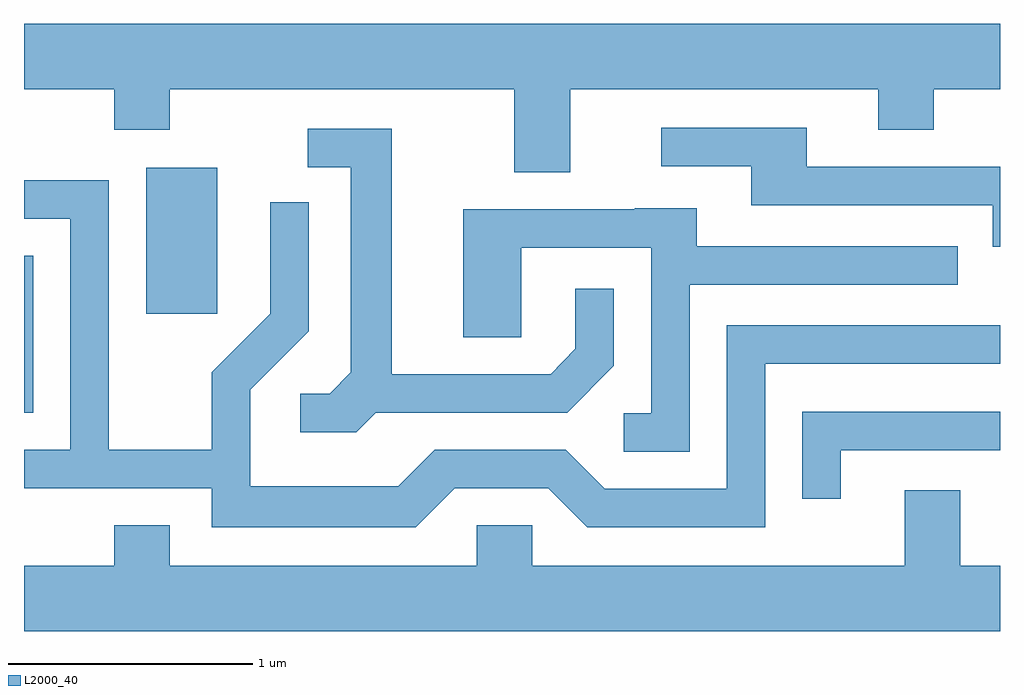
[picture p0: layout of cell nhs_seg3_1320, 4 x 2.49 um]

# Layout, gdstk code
import gdstk
lib = gdstk.Library(unit=1e-6, precision=1e-09)
def R(c, l, rs):  # rectangles x0, y0, x1, y1
    for r in rs: c.add(gdstk.rectangle(r[:2], r[2:], *l))
def P(c, l, *ps):  # polygons
    for p in ps: c.add(gdstk.Polygon(p, *l))
L2000_40 = (2000, 40)

nhs_seg3_1320 = lib.new_cell('nhs_seg3_1320')
R(nhs_seg3_1320, L2000_40, [(223.611,1173.531,223.649,1174.174), (224.111,1173.936,224.404,1174.534)])
P(nhs_seg3_1320, L2000_40, [(225.849,1174.856),(227.111,1174.856),(227.111,1174.691),(227.339,1174.691),(227.339,1174.856),(227.611,1174.856),(227.611,1175.124),(223.611,1175.124),(223.611,1174.856),(223.981,1174.856),(223.981,1174.691),(224.209,1174.691),(224.209,1174.856),(225.621,1174.856),(225.621,1174.516),(225.849,1174.516)],
  [(227.611,1174.539),(226.819,1174.539),(226.819,1174.699),(226.223,1174.699),(226.223,1174.541),(226.591,1174.541),(226.591,1174.381),(227.581,1174.381),(227.581,1174.211),(227.611,1174.211)],
  [(225.052,1173.531),(225.837,1173.531),(226.029,1173.724),(226.029,1174.038),(225.871,1174.038),(225.871,1173.792),(225.769,1173.689),(225.119,1173.689),(225.119,1174.694),(224.773,1174.694),(224.773,1174.536),(224.951,1174.536),(224.951,1173.697),(224.864,1173.609),(224.743,1173.609),(224.743,1173.451),(224.972,1173.451)],
  [(225.377,1173.221),(225.759,1173.221),(225.919,1173.061),(226.649,1173.061),(226.649,1173.731),(227.611,1173.731),(227.611,1173.889),(226.491,1173.889),(226.491,1173.219),(225.992,1173.219),(225.832,1173.379),(225.294,1173.379),(225.144,1173.229),(224.539,1173.229),(224.539,1173.624),(224.779,1173.864),(224.779,1174.393),(224.621,1174.393),(224.621,1173.937),(224.381,1173.697),(224.381,1173.379),(223.959,1173.379),(223.959,1174.484),(223.611,1174.484),(223.611,1174.326),(223.801,1174.326),(223.801,1173.379),(223.611,1173.379),(223.611,1173.221),(224.381,1173.221),(224.381,1173.061),(225.217,1173.061)],
  [(226.339,1174.056),(227.438,1174.056),(227.438,1174.214),(226.369,1174.214),(226.369,1174.369),(226.115,1174.369),(226.115,1174.364),(225.411,1174.364),(225.411,1173.841),(225.649,1173.841),(225.649,1174.206),(226.181,1174.206),(226.181,1173.529),(226.068,1173.529),(226.068,1173.371),(226.339,1173.371)],
  [(226.959,1173.376),(227.611,1173.376),(227.611,1173.534),(226.801,1173.534),(226.801,1173.178),(226.959,1173.178)],
  [(227.611,1172.904),(227.449,1172.904),(227.449,1173.214),(227.221,1173.214),(227.221,1172.904),(225.694,1172.904),(225.694,1173.069),(225.466,1173.069),(225.466,1172.904),(224.209,1172.904),(224.209,1173.069),(223.981,1173.069),(223.981,1172.904),(223.611,1172.904),(223.611,1172.636),(227.611,1172.636)])

lib.write_gds('nhs_seg3_1320.gds')
